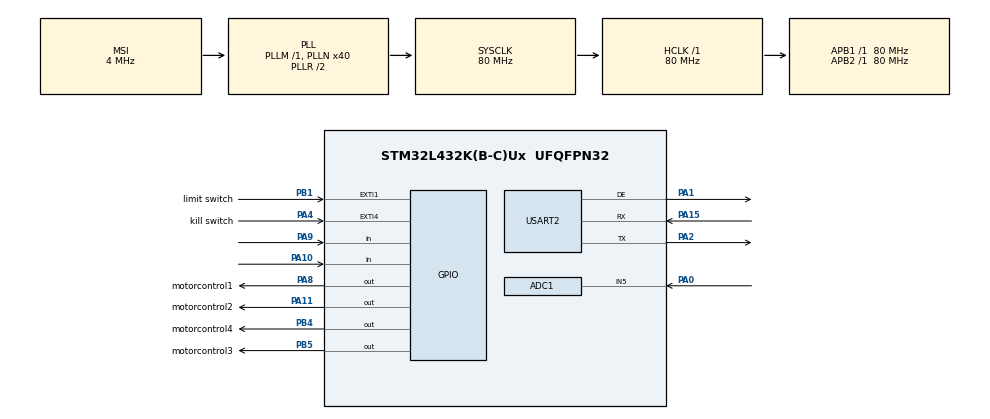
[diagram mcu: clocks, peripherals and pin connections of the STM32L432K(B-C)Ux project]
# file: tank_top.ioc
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ADC1.Channel-1\#ChannelRegularConversion=ADC_CHANNEL_5
ADC1.ClockPrescaler=ADC_CLOCK_ASYNC_DIV1
ADC1.DMAContinuousRequests=ENABLE
ADC1.ExternalTrigConv=ADC_EXTERNALTRIG_T2_TRGO
ADC1.NbrOfConversionFlag=1
ADC1.OffsetNumber-1\#ChannelRegularConversion=ADC_OFFSET_NONE
ADC1.Rank-1\#ChannelRegularConversion=1
ADC1.Resolution=ADC_RESOLUTION_12B
ADC1.SamplingTime-1\#ChannelRegularConversion=ADC_SAMPLETIME_247CYCLES_5
ADC1.master=1
Dma.ADC1.0.Direction=DMA_PERIPH_TO_MEMORY
Dma.ADC1.0.Instance=DMA1_Channel1
Dma.ADC1.0.MemDataAlignment=DMA_MDATAALIGN_HALFWORD
Dma.ADC1.0.MemInc=DMA_MINC_ENABLE
Dma.ADC1.0.Mode=DMA_CIRCULAR
Dma.ADC1.0.PeriphDataAlignment=DMA_PDATAALIGN_HALFWORD
Dma.ADC1.0.PeriphInc=DMA_PINC_DISABLE
Dma.ADC1.0.Priority=DMA_PRIORITY_LOW
Dma.Request0=ADC1
Mcu.Family=STM32L4
Mcu.Name=STM32L432K(B-C)Ux
Mcu.Package=UFQFPN32
NVIC.ADC1_IRQn=true\:0\:0\:false\:false\:true\:true\:true\:true
NVIC.DMA1_Channel1_IRQn=true\:0\:0\:false\:false\:true\:false\:true\:true
NVIC.EXTI1_IRQn=true\:0\:0\:false\:false\:true\:true\:true\:true
NVIC.EXTI4_IRQn=true\:0\:0\:false\:false\:true\:true\:true\:true
NVIC.PriorityGroup=NVIC_PRIORITYGROUP_4
NVIC.TIM2_IRQn=true\:0\:0\:false\:false\:true\:true\:true\:true
NVIC.USART2_IRQn=true\:0\:0\:false\:false\:true\:true\:true\:true
PA0.Signal=ADCx_IN5
PA1.Mode=Hardware Flow Control (RS485)
PA1.Signal=USART2_DE
PA10.GPIO_PuPd=GPIO_PULLUP
PA10.Signal=GPIO_Input
PA11.GPIO_Label=motorcontrol2
PA11.Signal=GPIO_Output
PA13\ (JTMS-SWDIO).GPIO_Label=SWDIO
PA13\ (JTMS-SWDIO).Mode=Serial_Wire
PA13\ (JTMS-SWDIO).Signal=SYS_JTMS-SWDIO
PA14\ (JTCK-SWCLK).GPIO_Label=SWCLK
PA14\ (JTCK-SWCLK).Mode=Serial_Wire
PA14\ (JTCK-SWCLK).Signal=SYS_JTCK-SWCLK
PA15\ (JTDI).Mode=Asynchronous
PA15\ (JTDI).Signal=USART2_RX
PA2.Mode=Asynchronous
PA2.Signal=USART2_TX
PA4.GPIO_Label=kill switch
PA4.GPIO_ModeDefaultEXTI=GPIO_MODE_IT_RISING_FALLING
PA4.GPIO_PuPd=GPIO_PULLUP
PA4.Signal=GPXTI4
PA8.GPIO_Label=motorcontrol1
PA8.Signal=GPIO_Output
PA9.GPIO_PuPd=GPIO_PULLUP
PA9.Signal=GPIO_Input
PB1.GPIO_Label=limit switch
PB1.GPIO_PuPd=GPIO_PULLUP
PB1.Signal=GPXTI1
PB4\ (NJTRST).GPIO_Label=motorcontrol4
PB4\ (NJTRST).Signal=GPIO_Output
PB5.GPIO_Label=motorcontrol3
PB5.Signal=GPIO_Output
ProjectManager.HeapSize=0x200
ProjectManager.StackSize=0x400
ProjectManager.TargetToolchain=STM32CubeIDE
RCC.ADCFreq_Value=32000000
RCC.AHBFreq_Value=80000000
RCC.APB1Freq_Value=80000000
RCC.APB1TimFreq_Value=80000000
RCC.APB2Freq_Value=80000000
RCC.APB2TimFreq_Value=80000000
RCC.CortexFreq_Value=80000000
RCC.HCLKFreq_Value=80000000
RCC.HSE_VALUE=8000000
RCC.HSI16_VALUE=16000000
RCC.HSI48_VALUE=48000000
RCC.HSI_VALUE=16000000
RCC.LSE_VALUE=32768
RCC.MSI_VALUE=4000000
RCC.PLLMUL=RCC_PLLMUL_4
RCC.PLLN=40
RCC.PLLSAI1N=16
RCC.SYSCLKFreq_VALUE=80000000
RCC.SYSCLKSource=RCC_SYSCLKSOURCE_PLLCLK
RCC.USBFreq_Value=32000000
RCC.VCOOutputFreq_Value=160000000
SH.ADCx_IN5.0=ADC1_IN5,IN5-Single-Ended
TIM2.Channel-PWM\ Generation1\ No\ Output=TIM_CHANNEL_1
TIM2.Period=50-1
TIM2.Prescaler=40-1
TIM2.TIM_MasterOutputTrigger=TIM_TRGO_UPDATE
USART2.VirtualMode-Asynchronous=VM_ASYNC
USART2.VirtualMode-Hardware\ Flow\ Control\ (RS485)=VM_ASYNC
VP_TIM2_VS_ClockSourceINT.Mode=Internal
VP_TIM2_VS_no_output1.Mode=PWM Generation1 No Output
board=NUCLEO-L432KC

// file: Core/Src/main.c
/* USER CODE BEGIN Header */
/**
 ******************************************************************************
 * @file           : main.c
 * @brief          : Main program body
 ******************************************************************************
 * @attention
 *
 * Copyright (c) 2023 STMicroelectronics.
 * All rights reserved.
 *
 * This software is licensed under terms that can be found in the LICENSE file
 * in the root directory of this software component.
 * If no LICENSE file comes with this software, it is provided AS-IS.
 *
 ******************************************************************************
 */
/* USER CODE END Header */
#include "main.h"

/* USER CODE BEGIN Includes */
#include <string.h>
#include <stdio.h>
#include <stdlib.h>
#include <math.h>
#define ARM_MATH_CM4
#include "arm_math.h"
#include "main.h"
#include "../ECUAL/STEPPER/STEPPER.h"
/* USER CODE END Includes */

/* USER CODE BEGIN PD */
#define STEPPER_MOTOR1   0
/* USER CODE END PD */

/* USER CODE BEGIN PM */
#define UINT16_TO_FLOAT 0.00001525878f
#define INT16_TO_FLOAT 0.00003051757f
#define FLOAT_TO_INT16 32768.0f
#define BUFFER_SIZE 256
#define FFT_BUFFER_SIZE 1024
#define SAMPLE_RATE_HZ 40000
#define ZERO_FREQ 2968
#define ONE_FREQ 2500
/* USER CODE END PM */

ADC_HandleTypeDef hadc1;
DMA_HandleTypeDef hdma_adc1;

TIM_HandleTypeDef htim2;

UART_HandleTypeDef huart2;

/* USER CODE BEGIN PV */
volatile uint16_t buffer[BUFFER_SIZE];
volatile uint8_t halfFlag = 0;
volatile uint8_t fullFlag = 0;
volatile uint8_t updatedFlag = 0;
volatile uint8_t limitFlag = 0;
volatile uint8_t killFlag = 0;
volatile uint8_t messageFull = 0;

arm_rfft_fast_instance_f32 fftHandler;

float fftBufIn[FFT_BUFFER_SIZE];
float32_t fftBufOut[FFT_BUFFER_SIZE];
float32_t fftMagOut[FFT_BUFFER_SIZE / 2];
volatile int16_t fftIndex = 0;

float peakVal = 0.0f;
uint16_t peakHz = 0;

char message[10];
int received[30];
int receivedIndex = 0;
int zeroCount = 0;
int oneCount = 0;

float temp;
int depth = 0;

uint32_t curTime;
uint8_t Stepper1_Dir; // Clockwise down, counterclockwise up

const int targetTemp = 23;
/* USER CODE END PV */

void SystemClock_Config(void);
static void MX_GPIO_Init(void);
static void MX_DMA_Init(void);
static void MX_TIM2_Init(void);
static void MX_ADC1_Init(void);
static void MX_USART2_UART_Init(void);
/* USER CODE BEGIN PFP */
void process_data(int start, int end);
void bit_detect(int freq);
void receive_bit(int bit, int amount);
#define PUTCHAR_PROTOTYPE int __io_putchar(int ch)
/* USER CODE END PFP */

int main(void) {

	/* MCU Configuration--------------------------------------------------------*/

	/* Reset of all peripherals, Initializes the Flash interface and the Systick. */
	HAL_Init();

	/* Configure the system clock */
	SystemClock_Config();

	/* Initialize all configured peripherals */
	MX_GPIO_Init();
	MX_DMA_Init();
	MX_TIM2_Init();
	MX_ADC1_Init();
	MX_USART2_UART_Init();
	/* USER CODE BEGIN 2 */
	arm_rfft_fast_init_f32(&fftHandler, FFT_BUFFER_SIZE);
	HAL_ADCEx_Calibration_Start(&hadc1, ADC_SINGLE_ENDED);
	HAL_ADC_Start_DMA(&hadc1, (uint32_t*) buffer, BUFFER_SIZE);
	HAL_TIM_Base_Start_IT(&htim2);

	STEPPERS_Init();
	STEPPER_SetSpeed(STEPPER_MOTOR1, 14);

	// Reset platform to top
	printf("Resetting\n\r");
	Stepper1_Dir = DIR_CCW;
	while (HAL_GPIO_ReadPin(GPIOB, GPIO_PIN_1) == GPIO_PIN_RESET) {
		STEPPER_Step_Blocking(STEPPER_MOTOR1, 10, Stepper1_Dir);
	}
	STEPPER_Stop(STEPPER_MOTOR1);

	/* USER CODE END 2 */

	/* Infinite loop */
	/* USER CODE BEGIN WHILE */
	while (1) {
		/*
		 printf("peepeepoopoo\n\r");
		 HAL_Delay(1);
		 */

		if (HAL_GPIO_ReadPin(GPIOA, GPIO_PIN_4) == GPIO_PIN_RESET) {
			printf("Kill switch hit\n\r");
			Stepper1_Dir = DIR_CCW;
			while (HAL_GPIO_ReadPin(GPIOB, GPIO_PIN_1) == GPIO_PIN_RESET) {
				STEPPER_Step_Blocking(STEPPER_MOTOR1, 10, Stepper1_Dir);
			}
			while (killFlag) {
				HAL_Delay(100);
			}
		} else {
			if (limitFlag) {
				depth = 0;
				printf("Limit Hit\n\r");
				Stepper1_Dir = DIR_CW;
			}
			if (updatedFlag) {
				if (temp < targetTemp - 1 && !limitFlag) {
					printf("Going up\n\r");
					depth -= 5;
					Stepper1_Dir = DIR_CCW;
					STEPPER_Step_Blocking(STEPPER_MOTOR1, 1000, Stepper1_Dir);
					if (depth < 0)
						depth = 0;
				} else if (temp > targetTemp + 1) {
					printf("Going down\n\r");
					limitFlag = 0;
					depth += 5;
					Stepper1_Dir = DIR_CW;
					STEPPER_Step_Blocking(STEPPER_MOTOR1, 1000, Stepper1_Dir);
					if (depth > 200)
						depth = 200;
				} else {
					printf("Perfect temp\n\r");
					HAL_Delay(10000);
				}

				updatedFlag = 0;
			} else {
				// DSP Stuff
				if (halfFlag) {
					process_data(0, BUFFER_SIZE / 2);
					halfFlag = 0;
				}
				if (fullFlag) {
					process_data(BUFFER_SIZE / 2, BUFFER_SIZE);
					fullFlag = 0;
				}
			}
		}

		/* USER CODE END WHILE */

	}
}

void SystemClock_Config(void) {
	RCC_OscInitTypeDef RCC_OscInitStruct = { 0 };
	RCC_ClkInitTypeDef RCC_ClkInitStruct = { 0 };

	/** Configure the main internal regulator output voltage
	 */
	if (HAL_PWREx_ControlVoltageScaling(PWR_REGULATOR_VOLTAGE_SCALE1)
			!= HAL_OK) {
		Error_Handler();
	}

	/** Initializes the RCC Oscillators according to the specified parameters
	 * in the RCC_OscInitTypeDef structure.
	 */
	RCC_OscInitStruct.OscillatorType = RCC_OSCILLATORTYPE_MSI;
	RCC_OscInitStruct.MSIState = RCC_MSI_ON;
	RCC_OscInitStruct.MSICalibrationValue = 0;
	RCC_OscInitStruct.MSIClockRange = RCC_MSIRANGE_6;
	RCC_OscInitStruct.PLL.PLLState = RCC_PLL_ON;
	RCC_OscInitStruct.PLL.PLLSource = RCC_PLLSOURCE_MSI;
	RCC_OscInitStruct.PLL.PLLM = 1;
	RCC_OscInitStruct.PLL.PLLN = 40;
	RCC_OscInitStruct.PLL.PLLP = RCC_PLLP_DIV7;
	RCC_OscInitStruct.PLL.PLLQ = RCC_PLLQ_DIV2;
	RCC_OscInitStruct.PLL.PLLR = RCC_PLLR_DIV2;
	if (HAL_RCC_OscConfig(&RCC_OscInitStruct) != HAL_OK) {
		Error_Handler();
	}

	/** Initializes the CPU, AHB and APB buses clocks
	 */
	RCC_ClkInitStruct.ClockType = RCC_CLOCKTYPE_HCLK | RCC_CLOCKTYPE_SYSCLK
			| RCC_CLOCKTYPE_PCLK1 | RCC_CLOCKTYPE_PCLK2;
	RCC_ClkInitStruct.SYSCLKSource = RCC_SYSCLKSOURCE_PLLCLK;
	RCC_ClkInitStruct.AHBCLKDivider = RCC_SYSCLK_DIV1;
	RCC_ClkInitStruct.APB1CLKDivider = RCC_HCLK_DIV1;
	RCC_ClkInitStruct.APB2CLKDivider = RCC_HCLK_DIV1;

	if (HAL_RCC_ClockConfig(&RCC_ClkInitStruct, FLASH_LATENCY_4) != HAL_OK) {
		Error_Handler();
	}
}

static void MX_ADC1_Init(void) {

	ADC_ChannelConfTypeDef sConfig = { 0 };

	/** Common config
	 */
	hadc1.Instance = ADC1;
	hadc1.Init.ClockPrescaler = ADC_CLOCK_ASYNC_DIV1;
	hadc1.Init.Resolution = ADC_RESOLUTION_12B;
	hadc1.Init.DataAlign = ADC_DATAALIGN_RIGHT;
	hadc1.Init.ScanConvMode = ADC_SCAN_DISABLE;
	hadc1.Init.EOCSelection = ADC_EOC_SINGLE_CONV;
	hadc1.Init.LowPowerAutoWait = DISABLE;
	hadc1.Init.ContinuousConvMode = DISABLE;
	hadc1.Init.NbrOfConversion = 1;
	hadc1.Init.DiscontinuousConvMode = DISABLE;
	hadc1.Init.ExternalTrigConv = ADC_EXTERNALTRIG_T2_TRGO;
	hadc1.Init.ExternalTrigConvEdge = ADC_EXTERNALTRIGCONVEDGE_RISING;
	hadc1.Init.DMAContinuousRequests = ENABLE;
	hadc1.Init.Overrun = ADC_OVR_DATA_PRESERVED;
	hadc1.Init.OversamplingMode = DISABLE;
	if (HAL_ADC_Init(&hadc1) != HAL_OK) {
		Error_Handler();
	}

	/** Configure Regular Channel
	 */
	sConfig.Channel = ADC_CHANNEL_5;
	sConfig.Rank = ADC_REGULAR_RANK_1;
	sConfig.SamplingTime = ADC_SAMPLETIME_247CYCLES_5;
	sConfig.SingleDiff = ADC_SINGLE_ENDED;
	sConfig.OffsetNumber = ADC_OFFSET_NONE;
	sConfig.Offset = 0;
	if (HAL_ADC_ConfigChannel(&hadc1, &sConfig) != HAL_OK) {
		Error_Handler();
	}

}

static void MX_TIM2_Init(void) {

	TIM_ClockConfigTypeDef sClockSourceConfig = { 0 };
	TIM_MasterConfigTypeDef sMasterConfig = { 0 };
	TIM_OC_InitTypeDef sConfigOC = { 0 };

	htim2.Instance = TIM2;
	htim2.Init.Prescaler = 40 - 1;
	htim2.Init.CounterMode = TIM_COUNTERMODE_UP;
	htim2.Init.Period = 50 - 1;
	htim2.Init.ClockDivision = TIM_CLOCKDIVISION_DIV1;
	htim2.Init.AutoReloadPreload = TIM_AUTORELOAD_PRELOAD_DISABLE;
	if (HAL_TIM_Base_Init(&htim2) != HAL_OK) {
		Error_Handler();
	}
	sClockSourceConfig.ClockSource = TIM_CLOCKSOURCE_INTERNAL;
	if (HAL_TIM_ConfigClockSource(&htim2, &sClockSourceConfig) != HAL_OK) {
		Error_Handler();
	}
	if (HAL_TIM_PWM_Init(&htim2) != HAL_OK) {
		Error_Handler();
	}
	sMasterConfig.MasterOutputTrigger = TIM_TRGO_UPDATE;
	sMasterConfig.MasterSlaveMode = TIM_MASTERSLAVEMODE_DISABLE;
	if (HAL_TIMEx_MasterConfigSynchronization(&htim2, &sMasterConfig)
			!= HAL_OK) {
		Error_Handler();
	}
	sConfigOC.OCMode = TIM_OCMODE_PWM1;
	sConfigOC.Pulse = 0;
	sConfigOC.OCPolarity = TIM_OCPOLARITY_HIGH;
	sConfigOC.OCFastMode = TIM_OCFAST_DISABLE;
	if (HAL_TIM_PWM_ConfigChannel(&htim2, &sConfigOC, TIM_CHANNEL_1)
			!= HAL_OK) {
		Error_Handler();
	}

}

static void MX_USART2_UART_Init(void) {

	huart2.Instance = USART2;
	huart2.Init.BaudRate = 115200;
	huart2.Init.WordLength = UART_WORDLENGTH_8B;
	huart2.Init.StopBits = UART_STOPBITS_1;
	huart2.Init.Parity = UART_PARITY_NONE;
	huart2.Init.Mode = UART_MODE_TX_RX;
	huart2.Init.HwFlowCtl = UART_HWCONTROL_NONE;
	huart2.Init.OverSampling = UART_OVERSAMPLING_16;
	huart2.Init.OneBitSampling = UART_ONE_BIT_SAMPLE_DISABLE;
	huart2.AdvancedInit.AdvFeatureInit = UART_ADVFEATURE_NO_INIT;
	if (HAL_RS485Ex_Init(&huart2, UART_DE_POLARITY_HIGH, 0, 0) != HAL_OK) {
		Error_Handler();
	}

}

static void MX_DMA_Init(void) {

	/* DMA controller clock enable */
	__HAL_RCC_DMA1_CLK_ENABLE();

	/* DMA interrupt init */
	/* DMA1_Channel1_IRQn interrupt configuration */
	HAL_NVIC_SetPriority(DMA1_Channel1_IRQn, 0, 0);
	HAL_NVIC_EnableIRQ(DMA1_Channel1_IRQn);

}

static void MX_GPIO_Init(void) {
	GPIO_InitTypeDef GPIO_InitStruct = { 0 };

	/* GPIO Ports Clock Enable */
	__HAL_RCC_GPIOA_CLK_ENABLE();
	__HAL_RCC_GPIOB_CLK_ENABLE();

	/*Configure GPIO pin Output Level */
	HAL_GPIO_WritePin(GPIOA, motorcontrol1_Pin | motorcontrol2_Pin,
			GPIO_PIN_RESET);

	/*Configure GPIO pin Output Level */
	HAL_GPIO_WritePin(GPIOB, motorcontrol4_Pin | motorcontrol3_Pin,
			GPIO_PIN_RESET);

	/*Configure GPIO pin : kill_switch_Pin */
	GPIO_InitStruct.Pin = kill_switch_Pin;
	GPIO_InitStruct.Mode = GPIO_MODE_IT_RISING_FALLING;
	GPIO_InitStruct.Pull = GPIO_PULLUP;
	HAL_GPIO_Init(kill_switch_GPIO_Port, &GPIO_InitStruct);

	/*Configure GPIO pin : limit_switch_Pin */
	GPIO_InitStruct.Pin = limit_switch_Pin;
	GPIO_InitStruct.Mode = GPIO_MODE_IT_RISING;
	GPIO_InitStruct.Pull = GPIO_PULLUP;
	HAL_GPIO_Init(limit_switch_GPIO_Port, &GPIO_InitStruct);

	/*Configure GPIO pins : motorcontrol1_Pin motorcontrol2_Pin */
	GPIO_InitStruct.Pin = motorcontrol1_Pin | motorcontrol2_Pin;
	GPIO_InitStruct.Mode = GPIO_MODE_OUTPUT_PP;
	GPIO_InitStruct.Pull = GPIO_NOPULL;
	GPIO_InitStruct.Speed = GPIO_SPEED_FREQ_LOW;
	HAL_GPIO_Init(GPIOA, &GPIO_InitStruct);

	/*Configure GPIO pins : PA9 PA10 */
	GPIO_InitStruct.Pin = GPIO_PIN_9 | GPIO_PIN_10;
	GPIO_InitStruct.Mode = GPIO_MODE_INPUT;
	GPIO_InitStruct.Pull = GPIO_PULLUP;
	HAL_GPIO_Init(GPIOA, &GPIO_InitStruct);

	/*Configure GPIO pins : motorcontrol4_Pin motorcontrol3_Pin */
	GPIO_InitStruct.Pin = motorcontrol4_Pin | motorcontrol3_Pin;
	GPIO_InitStruct.Mode = GPIO_MODE_OUTPUT_PP;
	GPIO_InitStruct.Pull = GPIO_NOPULL;
	GPIO_InitStruct.Speed = GPIO_SPEED_FREQ_LOW;
	HAL_GPIO_Init(GPIOB, &GPIO_InitStruct);

	/* EXTI interrupt init*/
	HAL_NVIC_SetPriority(EXTI1_IRQn, 0, 0);
	HAL_NVIC_EnableIRQ(EXTI1_IRQn);

	HAL_NVIC_SetPriority(EXTI4_IRQn, 0, 0);
	HAL_NVIC_EnableIRQ(EXTI4_IRQn);

}

/* USER CODE BEGIN 4 */
void receive_bit(int bit, int amount) {
	if (amount == 0) {
		return;
	}
	for (int count = 0; count < round(amount / 28); count++) {
		received[receivedIndex] = bit;
		receivedIndex++;
	}
	if (receivedIndex > 29) {
		messageFull = 1;
	}
	return;
}

void bit_detect(int freq) {
	if (freq > ONE_FREQ - 50 && freq < ONE_FREQ + 50) {
		oneCount++;
	} else {
		receive_bit(1, oneCount);
		oneCount = 0;
	}
	if (freq > ZERO_FREQ - 50 && freq < ZERO_FREQ + 50) {
		zeroCount++;
	} else {
		receive_bit(0, zeroCount);
		zeroCount = 0;
	}
	if (freq == 156) {
		receivedIndex = 0;
	}
	return;
}

void process_data(int start, int end) {
	float in;

	for (uint8_t count = start; count < end; count++) {
// Convert to float
		in = INT16_TO_FLOAT * ((float) buffer[count]);

// Fill FFT Buffer
		fftBufIn[fftIndex] = in;
		fftIndex++;

		if (fftIndex == FFT_BUFFER_SIZE) {
			// Perform FFT
			arm_rfft_fast_f32(&fftHandler, fftBufIn, fftBufOut, 0);
			arm_cmplx_mag_f32(fftBufOut, fftMagOut, FFT_BUFFER_SIZE / 2);

			peakVal = 0.0f;
			peakHz = 0.0f;

			for (uint16_t index = 1; index < FFT_BUFFER_SIZE / 8; index++) {

				if (fftMagOut[index] > peakVal) {
					peakVal = fftMagOut[index];
					peakHz = (uint16_t) (index * SAMPLE_RATE_HZ
							/ ((float) FFT_BUFFER_SIZE));
				}
			}
			//printf("%d\n\r", (int) peakHz);
			bit_detect(peakHz);

			// Reset FFT array index;
			fftIndex = 0;
		}

		if (messageFull) {
			for (int count1 = 0, count2 = 10, count3 = 20; count1 < 10;
					count1++, count2++, count3++) {
				if (received[count1] + received[count2] + received[count3]
						>= 2) {
					message[count1] = '0';
				} else if (received[count1] + received[count2]
						+ received[count3] <= 1) {
					message[count1] = '1';
				}
			}

			temp = strtol(message, NULL, 2);
			temp /= 10.0;

			printf("Received Temp: %d\n\r", (int) temp);

			updatedFlag = 1;
			receivedIndex = 0;
			messageFull = 0;

			return;
		}
	}
	return;
}

// Called when first half of buffer is filled
void HAL_ADC_ConvHalfCpltCallback(ADC_HandleTypeDef *hadc) {
	halfFlag = 1;
}

// Called when buffer is completely filled
void HAL_ADC_ConvCpltCallback(ADC_HandleTypeDef *hadc) {
	fullFlag = 1;
}

void HAL_TIM_PeriodElapsedCallback(TIM_HandleTypeDef *htim) {
	STEPPER_TMR_OVF_ISR(htim);
}

PUTCHAR_PROTOTYPE {
	/* Place your implementation of fputc here */
	/* e.g. write a character to the USART1 and Loop until the end of transmission */
	HAL_UART_Transmit(&huart2, (uint8_t*) &ch, 1, 0xFFFF);

	return ch;
}

/* USER CODE END 4 */

void Error_Handler(void) {
	__disable_irq();
	while (1) {
	}
}
